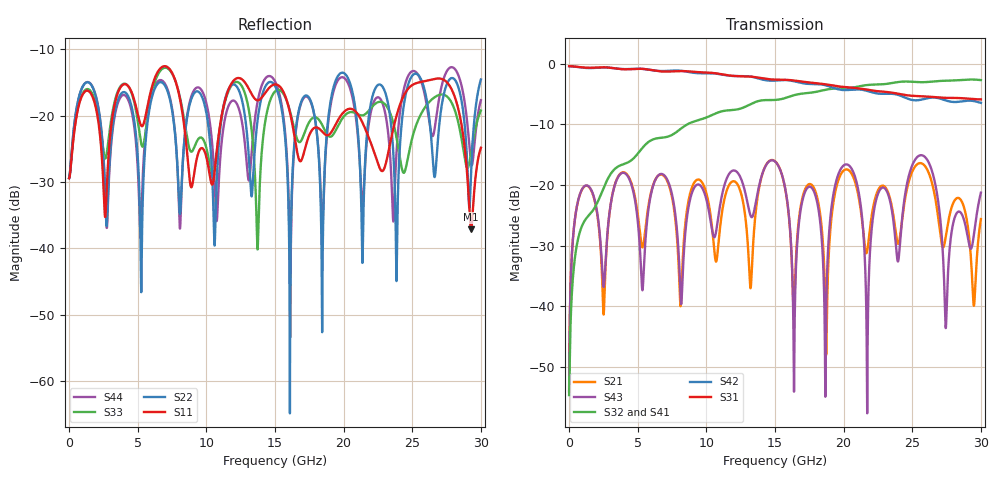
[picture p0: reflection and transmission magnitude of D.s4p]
!diffpair-meanders D (U-bend, dense accordion (4 excursions) next to the bend), mesh medium
!ports 1 P_near 2 N_near 3 P_far 4 N_far; openEMS FDTD, lumped 50 ohm ports
# Hz S RI R 50.0
! Port[1] = P_near
! Port[2] = N_near
! Port[3] = P_far
! Port[4] = N_far
!freq ReS11 ImS11 ReS12 ImS12 ReS13 ImS13
! ReS14 ImS14
! ReS21 ImS21 ReS22 ImS22 ReS23 ImS23
! ReS24 ImS24
! ReS31 ImS31 ReS32 ImS32 ReS33 ImS33
! ReS34 ImS34
! ReS41 ImS41 ReS42 ImS42 ReS43 ImS43
! ReS44 ImS44
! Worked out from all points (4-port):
!   3000 points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, 10 MHz to 30 GHz, reference 50 ohm
!   strongest paths, dB at 10 MHz, 7.51 GHz, 15.01 GHz, 22.51 GHz, 30 GHz:
!     S31: -0.4, -1.3, -2.6, -4.5, -5.9
!     S42: -0.4, -1.1, -2.8, -4.9, -6.5
!     S32: -54.7, -11.7, -6.0, -3.4, -2.7
!     S41: -54.7, -11.8, -6.1, -3.3, -2.6
!     S43: -54.1, -21.6, -16.1, -21.4, -21.3
!     S21: -54.1, -22.1, -16.1, -20.9, -25.6
!   lowest |S11| = -37.1 dB at 29.29 GHz (marker M1), VSWR 1.03, Z = 48.7 + j0.53 ohm
!   |S11| at or under -10 dB: start of sweep to end of sweep
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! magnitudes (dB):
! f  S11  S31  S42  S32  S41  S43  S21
! 10 MHz  -29.4  -0.4  -0.4  -54.7  -54.7  -54.1  -54.1
! 960 MHz  -17.0  -0.6  -0.6  -26.7  -26.8  -20.7  -20.7
! 5.81 GHz  -17.7  -1.0  -1.0  -12.9  -13.0  -23.6  -23.1
! 16.11 GHz  -19.6  -2.7  -2.8  -5.4  -5.4  -27.5  -27.7
! 27.18 GHz  -14.5  -5.6  -5.9  -2.8  -3.0  -29.4  -30.0
! 29.29 GHz  -37.1  -5.8  -6.1  -2.6  -2.6  -30.5  -32.6
! 30 GHz  -24.8  -5.9  -6.5  -2.7  -2.6  -21.3  -25.6
